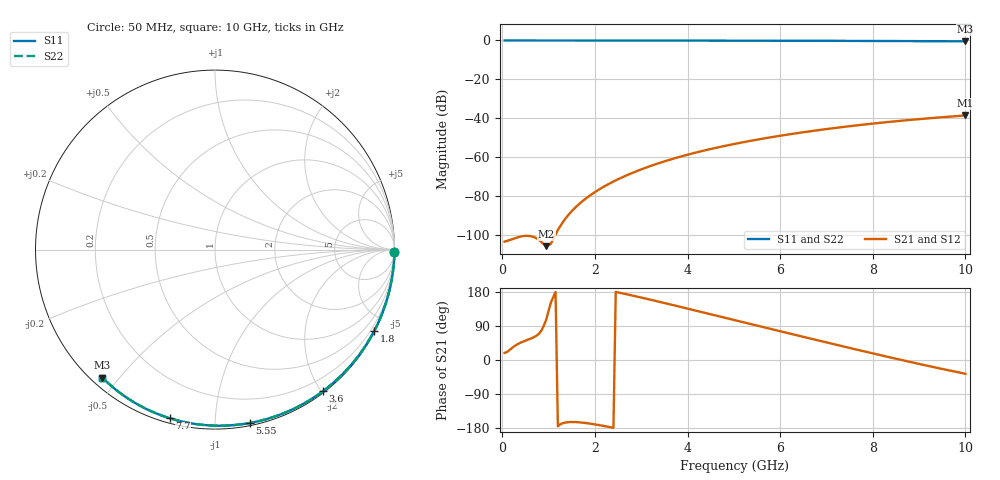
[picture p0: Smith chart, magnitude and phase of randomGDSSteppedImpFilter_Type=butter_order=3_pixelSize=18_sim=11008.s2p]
! freq	dB(S11)	phase(S11)	dB(S12)	phase(S12)
!  dB(S21)	phase(S21)	dB(S22)	phase(S22)
!S-par simulation data
#  GHz  S  DB  R 50
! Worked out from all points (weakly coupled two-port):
!   200 points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, 50 MHz to 10 GHz, reference 50 ohm
!   highest |S21| = -38.63 dB at 10 GHz (marker M1); lowest = -106.0 dB at 950 MHz (marker M2)
!   lowest |S11| = -0.4 dB at 10 GHz (marker M3), VSWR 38.99, Z = 1.54 - j22.6 ohm
!   |S11| at or under -10 dB: nowhere
!   |S22| runs from -0.4 to 0.0 dB; largest |S21 - S12| = 0
!   S11 on the Smith chart (normalised r, x): 50 MHz: open; 1.8 GHz: 0.04, -4.18; 3.6 GHz: 0.02, -2.02; 5.55 GHz: 0.02, -1.22; 7.7 GHz: 0.02, -0.77; 10 GHz: 0.03, -0.45
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0.05  -0.00 -0.8  -103.62 18.8  -103.62 18.8  -0.00 -0.8
0.5  -0.01 -7.6  -100.65 51.1  -100.65 51.1  -0.01 -7.6
0.95  -0.02 -14.3  -105.95 107.0  -105.95 107.0  -0.02 -14.3
1.75  -0.03 -26.2  -82.42 -165.5  -82.42 -165.5  -0.03 -26.2
1.8  -0.03 -26.9  -81.48 -166.3  -81.48 -166.3  -0.03 -26.9
1.85  -0.04 -27.7  -80.59 -167.1  -80.59 -167.1  -0.04 -27.6
1.9  -0.04 -28.4  -79.73 -168.0  -79.73 -168.0  -0.04 -28.4
2.05  -0.04 -30.6  -77.35 -170.9  -77.35 -170.9  -0.04 -30.6
2.25  -0.04 -33.5  -74.54 -175.4  -74.54 -175.4  -0.04 -33.5
2.65  -0.05 -39.2  -69.83 174.4  -69.83 174.4  -0.05 -39.2
3  -0.06 -44.2  -66.40 164.8  -66.40 164.8  -0.06 -44.2
3.4  -0.07 -49.9  -63.04 153.4  -63.04 153.4  -0.07 -49.8
3.6  -0.07 -52.6  -61.55 147.5  -61.55 147.5  -0.07 -52.6
4.3  -0.09 -62.2  -57.03 126.7  -57.03 126.7  -0.09 -62.2
5.05  -0.11 -72.2  -53.11 104.2  -53.11 104.2  -0.11 -72.1
5.55  -0.13 -78.6  -50.88 89.3  -50.88 89.3  -0.13 -78.6
6.1  -0.15 -85.6  -48.71 72.9  -48.71 72.9  -0.15 -85.6
6.7  -0.18 -93.0  -46.60 55.2  -46.60 55.2  -0.18 -93.0
7.7  -0.24 -105.0  -43.60 26.1  -43.60 26.1  -0.24 -105.0
8.35  -0.29 -112.6  -41.95 7.5  -41.95 7.5  -0.29 -112.6
9.15  -0.36 -121.7  -40.21 -14.4  -40.21 -14.4  -0.36 -121.7
10  -0.45 -131.3  -38.63 -36.3  -38.63 -36.3  -0.45 -131.3
